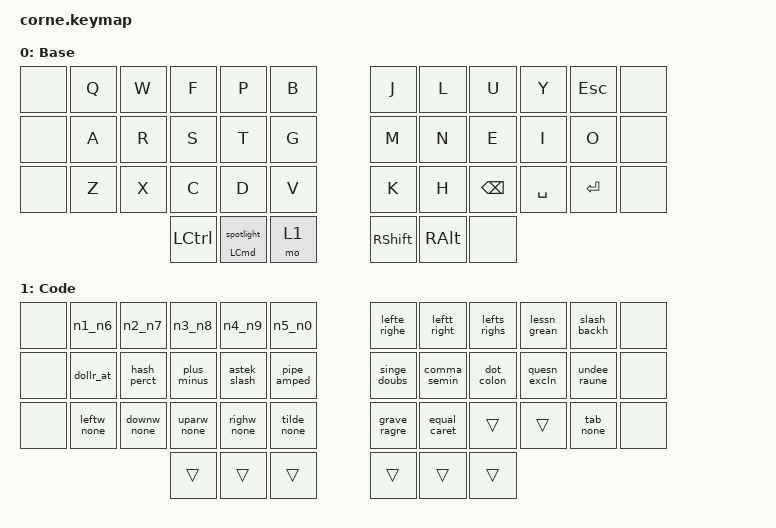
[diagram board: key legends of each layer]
/*
 * Copyright (c) 2020 The ZMK Contributors
 *
 * SPDX-License-Identifier: MIT
 */

#include <behaviors.dtsi>
#include <dt-bindings/zmk/keys.h>

/ {
    behaviors {
        left_cmd: left_command {
            compatible = "zmk,behavior-keypress";
            label = "LEFT_COMMAND";
            #binding-cells = <0>;
            bindings = <&kp LEFT_COMMAND>;
        };

        cmd_spot: command_spotlight {
            compatible = "zmk,behavior-hold-tap";
            label = "COMMAND_SPOTLIGHT";
            bindings = <&kp>, <&spotlight>;

            #binding-cells = <2>;
            tapping-term-ms = <200>;
            flavor = "hold-preferred";
        };
      
        n1_n6: n1_n6 {
            compatible = "zmk,behavior-mod-morph";
            label = "N1_N6";
            bindings = <&kp N1>, <&kp N6>;
        
            #binding-cells = <0>;
            mods = <(MOD_RSFT)>;
        };
        n2_n7: n2_n7 {
            compatible = "zmk,behavior-mod-morph";
            label = "N2_N7";
            bindings = <&kp N2>, <&kp N7>;
        
            #binding-cells = <0>;
            mods = <(MOD_RSFT)>;
        };
        n3_n8: n3_n8 {
            compatible = "zmk,behavior-mod-morph";
            label = "N3_N8";
            bindings = <&kp N3>, <&kp N8>;
        
            #binding-cells = <0>;
            mods = <(MOD_RSFT)>;
        };
        n4_n9: n4_n9 {
            compatible = "zmk,behavior-mod-morph";
            label = "N4_N9";
            bindings = <&kp N4>, <&kp N9>;
        
            #binding-cells = <0>;
            mods = <(MOD_RSFT)>;
        };
        n5_n0: n5_n0 {
            compatible = "zmk,behavior-mod-morph";
            label = "N5_N0";
            bindings = <&kp N5>, <&kp N0>;
        
            #binding-cells = <0>;
            mods = <(MOD_RSFT)>;
        };
        lefte_righe: lefte_righe {
            compatible = "zmk,behavior-mod-morph";
            label = "LEFTE_RIGHE";
            bindings = <&kp LEFT_BRACE>, <&kp RIGHT_BRACE>;
        
            #binding-cells = <0>;
            mods = <(MOD_RSFT)>;
        };
        leftt_right: leftt_right {
            compatible = "zmk,behavior-mod-morph";
            label = "LEFTT_RIGHT";
            bindings = <&kp LEFT_BRACKET>, <&kp RIGHT_BRACKET>;
        
            #binding-cells = <0>;
            mods = <(MOD_RSFT)>;
        };
        lefts_righs: lefts_righs {
            compatible = "zmk,behavior-mod-morph";
            label = "LEFTS_RIGHS";
            bindings = <&kp LEFT_PARENTHESIS>, <&kp RIGHT_PARENTHESIS>;
        
            #binding-cells = <0>;
            mods = <(MOD_RSFT)>;
        };
        lessn_grean: lessn_grean {
            compatible = "zmk,behavior-mod-morph";
            label = "LESSN_GREAN";
            bindings = <&kp LESS_THAN>, <&kp GREATER_THAN>;
        
            #binding-cells = <0>;
            mods = <(MOD_RSFT)>;
        };
        slash_backh: slash_backh {
            compatible = "zmk,behavior-mod-morph";
            label = "SLASH_BACKH";
            bindings = <&kp SLASH>, <&kp BACKSLASH>;
        
            #binding-cells = <0>;
            mods = <(MOD_RSFT)>;
        };
        dollr_at: dollr_at {
            compatible = "zmk,behavior-mod-morph";
            label = "DOLLR_AT";
            bindings = <&kp DOLLAR>, <&kp AT>;
        
            #binding-cells = <0>;
            mods = <(MOD_RSFT)>;
        };
        hash_perct: hash_perct {
            compatible = "zmk,behavior-mod-morph";
            label = "HASH_PERCT";
            bindings = <&kp HASH>, <&kp PERCENT>;
        
            #binding-cells = <0>;
            mods = <(MOD_RSFT)>;
        };
        plus_minus: plus_minus {
            compatible = "zmk,behavior-mod-morph";
            label = "PLUS_MINUS";
            bindings = <&kp PLUS>, <&kp MINUS>;
        
            #binding-cells = <0>;
            mods = <(MOD_RSFT)>;
        };
        astek_slash: astek_slash {
            compatible = "zmk,behavior-mod-morph";
            label = "ASTEK_SLASH";
            bindings = <&kp ASTERISK>, <&kp SLASH>;
        
            #binding-cells = <0>;
            mods = <(MOD_RSFT)>;
        };
        pipe_amped: pipe_amped {
            compatible = "zmk,behavior-mod-morph";
            label = "PIPE_AMPED";
            bindings = <&kp PIPE>, <&kp AMPERSAND>;
        
            #binding-cells = <0>;
            mods = <(MOD_RSFT)>;
        };
        singe_doubs: singe_doubs {
            compatible = "zmk,behavior-mod-morph";
            label = "SINGE_DOUBS";
            bindings = <&kp SINGLE_QUOTE>, <&kp DOUBLE_QUOTES>;
        
            #binding-cells = <0>;
            mods = <(MOD_RSFT)>;
        };
        comma_semin: comma_semin {
            compatible = "zmk,behavior-mod-morph";
            label = "COMMA_SEMIN";
            bindings = <&kp COMMA>, <&kp SEMICOLON>;
        
            #binding-cells = <0>;
            mods = <(MOD_RSFT)>;
        };
        dot_colon: dot_colon {
            compatible = "zmk,behavior-mod-morph";
            label = "DOT_COLON";
            bindings = <&kp DOT>, <&kp COLON>;
        
            #binding-cells = <0>;
            mods = <(MOD_RSFT)>;
        };
        quesn_excln: quesn_excln {
            compatible = "zmk,behavior-mod-morph";
            label = "QUESN_EXCLN";
            bindings = <&kp QUESTION>, <&kp EXCLAMATION>;
        
            #binding-cells = <0>;
            mods = <(MOD_RSFT)>;
        };
        undee_raune: undee_raune {
            compatible = "zmk,behavior-mod-morph";
            label = "UNDEE_RAUNE";
            bindings = <&kp UNDERSCORE>, <&kp RA(UNDERSCORE)>;
        
            #binding-cells = <0>;
            mods = <(MOD_RSFT)>;
        };
        leftw_none: leftw_none {
            compatible = "zmk,behavior-mod-morph";
            label = "LEFTW_NONE";
            bindings = <&kp LEFT_ARROW>, <&none>;
        
            #binding-cells = <0>;
            mods = <(MOD_RSFT)>;
        };
        downw_none: downw_none {
            compatible = "zmk,behavior-mod-morph";
            label = "DOWNW_NONE";
            bindings = <&kp DOWN_ARROW>, <&none>;
        
            #binding-cells = <0>;
            mods = <(MOD_RSFT)>;
        };
        uparw_none: uparw_none {
            compatible = "zmk,behavior-mod-morph";
            label = "UPARW_NONE";
            bindings = <&kp UP_ARROW>, <&none>;
        
            #binding-cells = <0>;
            mods = <(MOD_RSFT)>;
        };
        righw_none: righw_none {
            compatible = "zmk,behavior-mod-morph";
            label = "RIGHW_NONE";
            bindings = <&kp RIGHT_ARROW>, <&none>;
        
            #binding-cells = <0>;
            mods = <(MOD_RSFT)>;
        };
        tilde_none: tilde_none {
            compatible = "zmk,behavior-mod-morph";
            label = "TILDE_NONE";
            bindings = <&kp TILDE>, <&none>;
        
            #binding-cells = <0>;
            mods = <(MOD_RSFT)>;
        };
        grave_ragre: grave_ragre {
            compatible = "zmk,behavior-mod-morph";
            label = "GRAVE_RAGRE";
            bindings = <&kp GRAVE>, <&kp RA(GRAVE)>;
        
            #binding-cells = <0>;
            mods = <(MOD_RSFT)>;
        };
        equal_caret: equal_caret {
            compatible = "zmk,behavior-mod-morph";
            label = "EQUAL_CARET";
            bindings = <&kp EQUAL>, <&kp CARET>;
        
            #binding-cells = <0>;
            mods = <(MOD_RSFT)>;
        };
        tab_none: tab_none {
            compatible = "zmk,behavior-mod-morph";
            label = "TAB_NONE";
            bindings = <&kp TAB>, <&none>;
        
            #binding-cells = <0>;
            mods = <(MOD_RSFT)>;
        };
    };

    macros {
        spotlight: spotlight {
            compatible = "zmk,behavior-macro";
            #binding-cells = <0>;
            bindings = <&kp LG(SPACE)>;
            label = "SPOTLIGHT";
        };
    };

    keymap {
        compatible = "zmk,keymap";

        default_layer {
            label = "Base";
            bindings = <
&none         &kp Q         &kp W         &kp F         &kp P         &kp B         &kp J         &kp L         &kp U         &kp Y         &kp ESC       &none        
&none         &kp A         &kp R         &kp S         &kp T         &kp G         &kp M         &kp N         &kp E         &kp I         &kp O         &none        
&none         &kp Z         &kp X         &kp C         &kp D         &kp V         &kp K         &kp H         &kp BACKSPACE &kp SPACE     &kp ENTER     &none        
                                          &kp LEFT_CONTROL &cmd_spot LEFT_COMMAND 0 &mo 1         &kp RSHFT     &kp RIGHT_ALT &none        
            >;
        };

        lower_layer {
            label = "Code";
            bindings = <
&none         &n1_n6        &n2_n7        &n3_n8        &n4_n9        &n5_n0        &lefte_righe  &leftt_right  &lefts_righs  &lessn_grean  &slash_backh  &none        
&none         &dollr_at     &hash_perct   &plus_minus   &astek_slash  &pipe_amped   &singe_doubs  &comma_semin  &dot_colon    &quesn_excln  &undee_raune  &none        
&none         &leftw_none   &downw_none   &uparw_none   &righw_none   &tilde_none   &grave_ragre  &equal_caret  &trans        &trans        &tab_none     &none        
                                          &trans        &trans        &trans        &trans        &trans        &trans       
           >;
        };
    };
};

